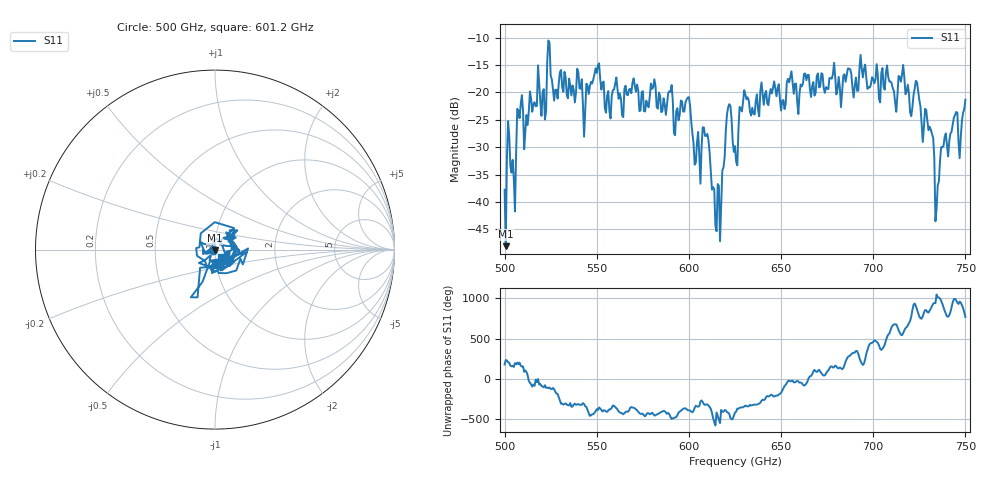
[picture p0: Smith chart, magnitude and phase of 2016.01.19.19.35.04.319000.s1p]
!Created with skrf (http://scikit-rf.org).
# GHz S RI R 50.0
!freq ReS11 ImS11
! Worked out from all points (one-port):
!   401 points, 500 GHz to 750 GHz, reference 50 ohm
!   lowest |S11| = -48.1 dB at 500.6 GHz (marker M1), VSWR 1.01, Z = 49.8 - j0.309 ohm
!   |S11| at or under -10 dB: start of sweep to end of sweep
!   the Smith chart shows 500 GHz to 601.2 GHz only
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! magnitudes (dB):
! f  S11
! 500 GHz  -37.8
! 500.6 GHz  -48.1
! 502.5 GHz  -27.8
! 505 GHz  -35.8
! 508.1 GHz  -24.7
! 521.2 GHz  -19.4
! 524.4 GHz  -11.0
! 527.5 GHz  -19.5
! 531.2 GHz  -19.1
! 543.8 GHz  -23.1
! 550 GHz  -16.4
! 562.5 GHz  -20.2
! 580.6 GHz  -19.1
! 593.8 GHz  -22.9
! 599.4 GHz  -21.0
! 605 GHz  -27.2
! 609.4 GHz  -27.9
! 615.6 GHz  -36.7
! 621.2 GHz  -22.8
! 625 GHz  -29.8
! 630.6 GHz  -20.4
! 656.2 GHz  -18.3
! 687.5 GHz  -15.7
! 718.8 GHz  -18.6
! 729.4 GHz  -25.2
! 735 GHz  -37.0
! 738.1 GHz  -29.8
! 750 GHz  -21.3
